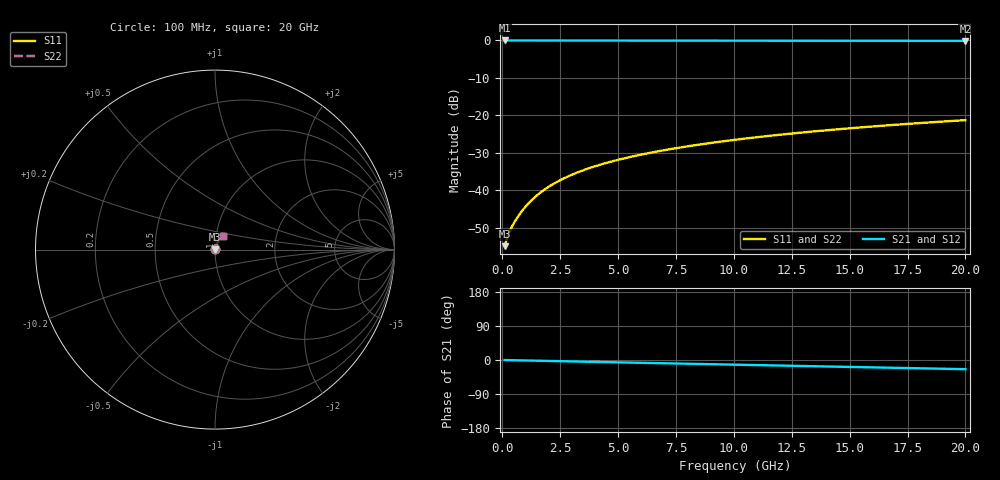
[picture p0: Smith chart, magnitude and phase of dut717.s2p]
! Touchstone file exported from HFSS 2026.1.0
!  File:  C:/ffzhzh/LocalFiles/Ansys_Project_Files/temp_train_TMRDL_717_1783154699_18472.aedt
!  Generated:  04:46:05 PM Jul  4, 2026
!  Design:  TMRDL
!  Project:  temp_train_TMRDL_717_1783154699_18472
! Variables:
!  h_bsmrdl = 2um
!  h_ox = 20um
!  h_rdl = 5um
!  h_sub = 80um
!  h_tmrdl = 5.02um
!  h_tsv = 80um
!  h_via = 3um
!  l_bsmrdl = 300um
!  l_sub = 816.78um
!  l_tmrdl = 416.78um
!  m_sub = 200um
!  pitch = 29.21um
!  r_tsv = 6um
!  s_tmrdl = 10um
!  w_bsmrdl = 18um
!  w_sub = 500um
!  w_tmrdl = 20.91um
!  x_tsv_center1 = 427.235um
!  x_tsv_center2 = 745.235um
!  x_tsv_center3 = 1182.925um
!  x_tsv_center4 = 1500.925um
!  x_tsv_center5 = 1938.615um
!  x_tsv_center6 = 2256.615um
# GHz S MA R 50.000000
! Terminal data exported
! Port[1] = TM_RDL1_1_T1
! Port[2] = TM_RDL1_1_T2
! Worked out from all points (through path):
!   200 points, 100 MHz to 20 GHz, reference 50 ohm
!   highest |S21| = -0.01 dB at 100 MHz (marker M1); lowest = -0.1 dB at 20 GHz (marker M2)
!   group delay of S21, straight-line fit = 3.35 ps
!   lowest |S11| = -55.0 dB at 100 MHz (marker M3), VSWR 1.00, Z = 50.2 + j0.078 ohm
!   |S11| at or under -10 dB: start of sweep to end of sweep
!   |S22| runs from -55.0 to -21.3 dB; largest |S21 - S12| = 3.3e-15
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0.1  0.001788 25.8  0.9984 -0.1  0.9984 -0.1  0.001788 25.8
! Gamma 0 0 0 0
! Port Impedance 50 0 50 0
0.2  0.002279 38.0  0.9982 -0.3  0.9982 -0.3  0.002279 38.0
0.3  0.002742 44.9  0.9981 -0.4  0.9981 -0.4  0.002743 44.9
0.4  0.003184 50.1  0.9979 -0.5  0.9979 -0.5  0.003185 50.1
0.5  0.003628 54.2  0.9979 -0.7  0.9979 -0.7  0.003629 54.2
0.7  0.004552 60.5  0.9978 -0.9  0.9978 -0.9  0.004552 60.5
0.9  0.005518 64.7  0.9977 -1.2  0.9977 -1.2  0.005519 64.7
1.1  0.006513 67.5  0.9976 -1.4  0.9976 -1.4  0.006513 67.5
1.3  0.007523 69.5  0.9975 -1.7  0.9975 -1.7  0.007523 69.5
1.7  0.00956 71.9  0.9973 -2.2  0.9973 -2.2  0.00956 71.9
2.2  0.01209 73.3  0.997 -2.8  0.997 -2.8  0.01209 73.3
2.8  0.01508 73.8  0.9966 -3.5  0.9966 -3.5  0.01508 73.8
3.5  0.01847 73.8  0.9961 -4.4  0.9961 -4.4  0.01847 73.8
4.2  0.02177 73.5  0.9955 -5.3  0.9955 -5.3  0.02177 73.5
5  0.02543 73.0  0.9949 -6.2  0.9949 -6.2  0.02543 73.0
5.9  0.02944 72.4  0.9943 -7.3  0.9943 -7.3  0.02944 72.3
6.8  0.03337 71.6  0.9937 -8.4  0.9937 -8.4  0.03337 71.6
8.3  0.03978 70.4  0.9927 -10.2  0.9927 -10.2  0.03978 70.4
10.1  0.0473 68.8  0.9917 -12.4  0.9917 -12.4  0.0473 68.8
13.4  0.06072 65.8  0.9898 -16.4  0.9898 -16.4  0.06073 65.7
16.7  0.07369 62.5  0.9879 -20.3  0.9879 -20.3  0.0737 62.4
20  0.08616 59.1  0.9861 -24.3  0.9861 -24.3  0.08618 59.0
